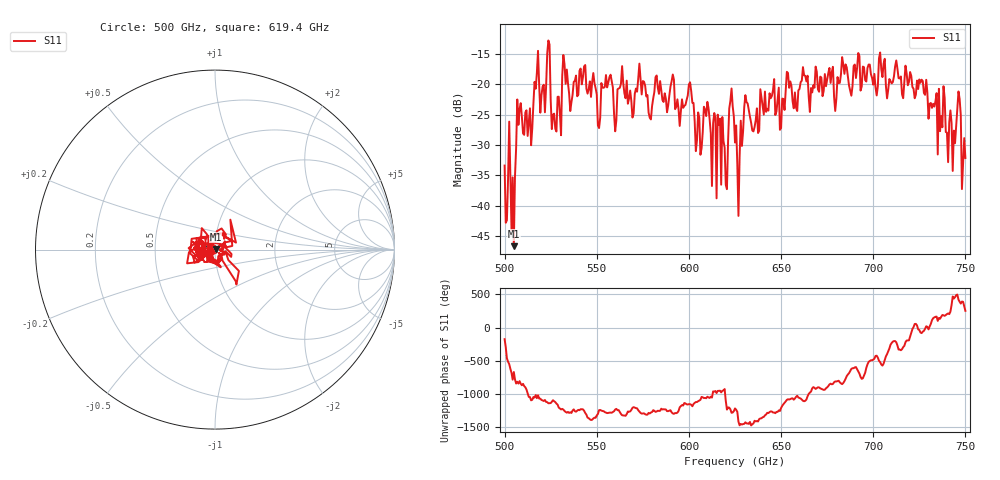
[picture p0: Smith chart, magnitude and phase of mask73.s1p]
!Created with skrf (http://scikit-rf.org).
# GHz S MA R 50.0
!freq magS11 angS11
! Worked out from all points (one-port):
!   401 points, 500 GHz to 750 GHz, reference 50 ohm
!   lowest |S11| = -46.6 dB at 505 GHz (marker M1), VSWR 1.01, Z = 50.3 + j0.373 ohm
!   |S11| at or under -10 dB: start of sweep to end of sweep
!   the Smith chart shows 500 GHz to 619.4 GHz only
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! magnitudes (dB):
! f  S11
! 500 GHz  -33.4
! 505 GHz  -46.6
! 508.1 GHz  -24.1
! 513.8 GHz  -24.0
! 516.9 GHz  -20.8
! 520.6 GHz  -20.4
! 523.8 GHz  -12.8
! 526.9 GHz  -24.9
! 531.2 GHz  -18.7
! 542.5 GHz  -18.9
! 550.6 GHz  -26.8
! 562.5 GHz  -20.6
! 593.8 GHz  -22.5
! 600.6 GHz  -19.7
! 605 GHz  -24.6
! 609.4 GHz  -25.2
! 620 GHz  -36.5
! 623.1 GHz  -20.7
! 625 GHz  -29.6
! 627.5 GHz  -32.0
! 631.2 GHz  -22.9
! 635 GHz  -27.8
! 656.2 GHz  -22.8
! 687.5 GHz  -21.0
! 718.8 GHz  -20.2
! 741.9 GHz  -24.3
! 746.2 GHz  -21.2
! 750 GHz  -32.1
